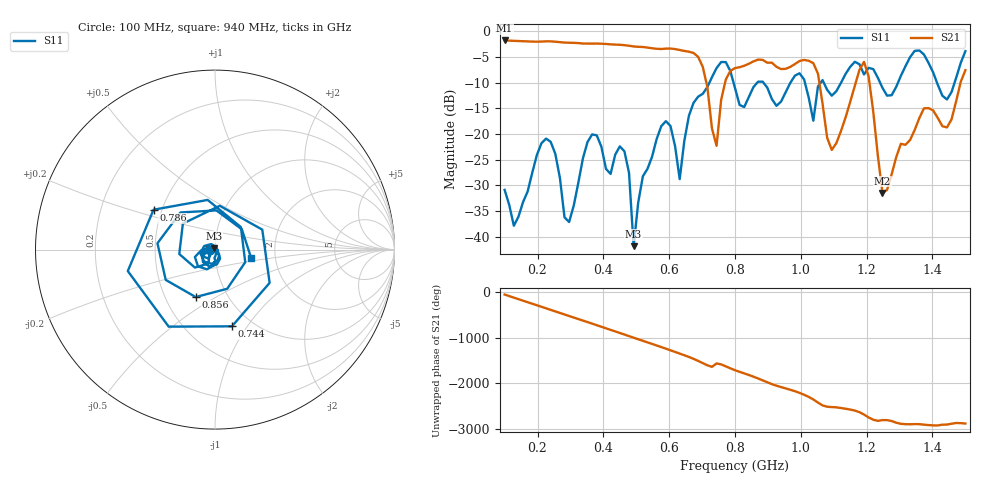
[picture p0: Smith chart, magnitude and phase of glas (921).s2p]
! NanoVNA-App
! Date: 2025-09-25 16:02:38
! Start: 100MHz Stop: 1,5GHz Points: 101
! S-Parameter data: F S11 S21 S12 S22
# Hz S RI R 50
!  Frequency  S11_Real  S11_Imag  S21_Real  S21_Imag  S12_Real  S12_Imag  S22_Real  S22_Imag
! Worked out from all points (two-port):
!   101 points, 100 MHz to 1.5 GHz, reference 50 ohm
!   highest |S21| = -1.80 dB at 100 MHz (marker M1); lowest = -31.5 dB at 1.248 GHz (marker M2)
!   |S21| within 3 dB of the highest: start of sweep to 684.4 MHz
!   lowest |S11| = -41.9 dB at 492 MHz (marker M3), VSWR 1.02, Z = 49.5 + j0.627 ohm
!   |S11| at or under -10 dB: start of sweep to 722.4 MHz; 795.5 MHz to 867.8 MHz (72.36 MHz wide, 8.7 % of centre); 886.1 MHz to 968.6 MHz (82.52 MHz wide, 8.9 % of centre) (the widest 3 of 7)
!   S12 and S22 are empty: the file has one direction only
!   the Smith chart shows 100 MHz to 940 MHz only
!   S11 on the Smith chart (normalised r, x): 100 MHz: 0.94, -0.01; 744 MHz: 0.81, -0.85; 786 MHz: 0.45, +0.24; 856 MHz: 0.71, -0.41; 940 MHz: 1.50, -0.14
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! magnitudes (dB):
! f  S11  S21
! 100 MHz  -30.9  -1.8
! 128 MHz  -37.9  -1.9
! 226 MHz  -20.9  -2.0
! 296 MHz  -37.2  -2.2
! 338 MHz  -24.8  -2.4
! 464 MHz  -23.4  -2.7
! 492 MHz  -41.9  -3.0
! 576 MHz  -18.5  -3.5
! 632 MHz  -28.8  -3.7
! 702 MHz  -12.2  -6.9
! 744 MHz  -7.2  -22.3
! 786 MHz  -7.8  -7.7
! 800 MHz  -11.1  -7.2
! 856 MHz  -10.9  -5.9
! 940 MHz  -13.7  -7.4
! 996 MHz  -8.2  -5.8
! 1.038 GHz  -17.4  -6.2
! 1.094 GHz  -12.6  -23.1
! 1.192 GHz  -8.4  -6.0
! 1.248 GHz  -11.0  -31.5
! 1.276 GHz  -12.5  -27.9
! 1.5 GHz  -3.9  -7.6
